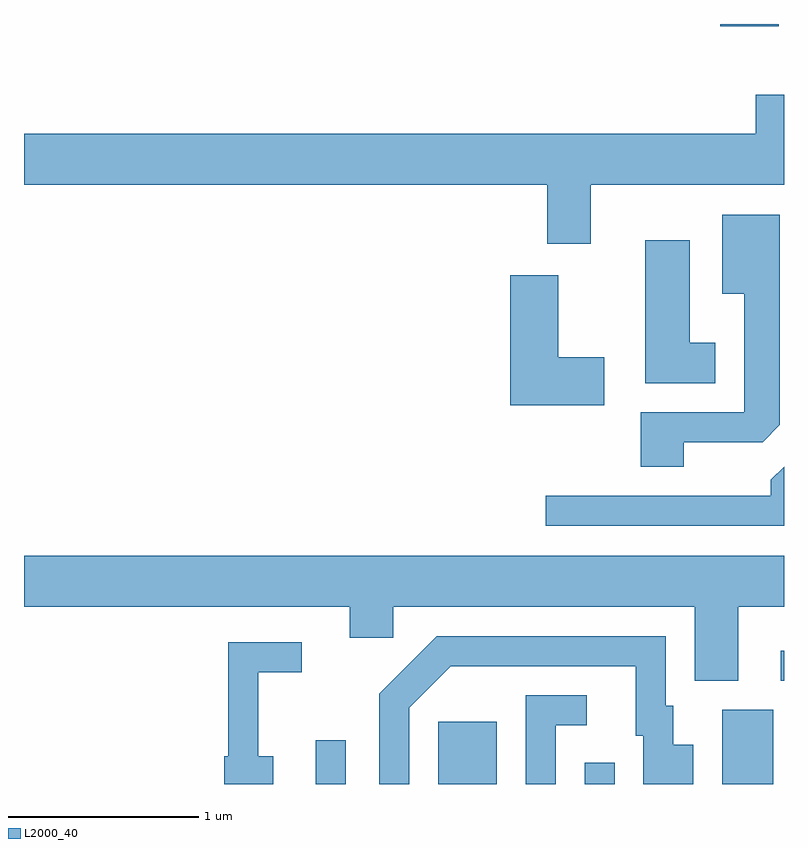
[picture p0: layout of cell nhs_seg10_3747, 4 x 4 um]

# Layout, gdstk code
import gdstk
lib = gdstk.Library(unit=1e-6, precision=1e-09)
def R(c, l, rs):  # rectangles x0, y0, x1, y1
    for r in rs: c.add(gdstk.rectangle(r[:2], r[2:], *l))
def P(c, l, *ps):  # polygons
    for p in ps: c.add(gdstk.Polygon(p, *l))
L2000_40 = (2000, 40)

nhs_seg10_3747 = lib.new_cell('nhs_seg10_3747')
R(nhs_seg10_3747, L2000_40, [(297.146,2128.522,297.304,2128.753), (297.791,2128.522,298.099,2128.849), (298.561,2128.522,298.719,2128.633), (299.286,2128.522,299.554,2128.914), (299.593,2129.066,299.611,2129.224), (299.276,2132.511,299.584,2132.522)])
P(nhs_seg10_3747, L2000_40, [(298.594,2131.676),(299.611,2131.676),(299.611,2132.149),(299.461,2132.149),(299.461,2131.944),(295.611,2131.944),(295.611,2131.676),(298.366,2131.676),(298.366,2131.366),(298.594,2131.366)],
  [(299.084,2130.321),(299.499,2130.321),(299.589,2130.412),(299.589,2131.519),(299.286,2131.519),(299.286,2131.101),(299.401,2131.101),(299.401,2130.479),(298.856,2130.479),(298.856,2130.191),(299.084,2130.191)],
  [(299.249,2130.844),(299.114,2130.844),(299.114,2131.384),(298.881,2131.384),(298.881,2130.631),(299.249,2130.631)],
  [(298.664,2130.769),(298.424,2130.769),(298.424,2131.199),(298.171,2131.199),(298.171,2130.516),(298.664,2130.516)],
  [(299.611,2130.193),(299.541,2130.124),(299.541,2130.039),(298.358,2130.039),(298.358,2129.881),(299.611,2129.881)],
  [(299.369,2129.456),(299.611,2129.456),(299.611,2129.724),(295.611,2129.724),(295.611,2129.456),(297.326,2129.456),(297.326,2129.291),(297.554,2129.291),(297.554,2129.456),(299.141,2129.456),(299.141,2129.066),(299.369,2129.066)],
  [(297.639,2128.924),(297.857,2129.141),(298.831,2129.141),(298.831,2128.776),(298.871,2128.776),(298.871,2128.522),(299.134,2128.522),(299.134,2128.729),(299.029,2128.729),(299.029,2128.934),(298.989,2128.934),(298.989,2129.299),(297.784,2129.299),(297.481,2128.997),(297.481,2128.522),(297.639,2128.522)],
  [(296.924,2128.669),(296.844,2128.669),(296.844,2129.111),(297.073,2129.111),(297.073,2129.269),(296.686,2129.269),(296.686,2128.669),(296.666,2128.669),(296.666,2128.522),(296.924,2128.522)],
  [(298.409,2128.831),(298.573,2128.831),(298.573,2128.989),(298.251,2128.989),(298.251,2128.522),(298.409,2128.522)])

lib.write_gds('nhs_seg10_3747.gds')
